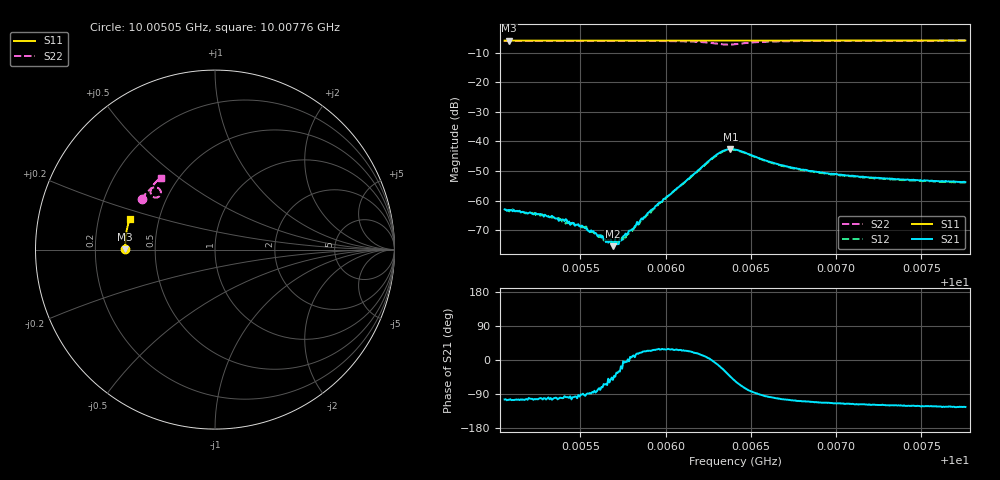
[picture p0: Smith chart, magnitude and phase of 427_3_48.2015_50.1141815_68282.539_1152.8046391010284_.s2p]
#  HZ  S  RI  R  50.00
! Rohde & Schwarz Vector Network Analyzer
! Rohde-Schwarz,ZNB20-2Port,1311601062101988,3.16
! Created: UTC 3/20/2024, 11:55:11 AM
! freq[Hz]  re:S11  im:S11  re:S21  im:S21  re:S12  im:S12  re:S22  im:S22
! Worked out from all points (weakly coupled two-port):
!   401 points, 10.00505 GHz to 10.00776 GHz, reference 50 ohm
!   highest |S21| = -42.59 dB at 10.00638 GHz (marker M1); lowest = -75.4 dB at 10.00569 GHz (marker M2)
!   lowest |S11| = -6.0 dB at 10.00508 GHz (marker M3), VSWR 3.00, Z = 16.7 + j0.12 ohm
!   |S11| at or under -10 dB: nowhere
!   |S22| runs from -7.3 to -6.0 dB; largest |S21 - S12| = 0.00045
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1.0005055e10  -0.4999 0.00113  -0.000174 -0.000692  -0.00012 -0.000685  -0.4075 0.2806
1.0005082e10  -0.4999 0.0027  -0.000179 -0.000673  -0.000147 -0.000642  -0.4065 0.2822
1.0005264e10  -0.5002 0.0147  -0.000111 -0.000586  -9.9e-05 -0.000553  -0.3995 0.293
1.0005359e10  -0.5001 0.0209  -8.47e-05 -0.000493  -8.64e-05 -0.000494  -0.3956 0.2987
1.0005508e10  -0.4999 0.0305  -9e-06 -0.000379  -7.59e-06 -0.000371  -0.3891 0.3075
1.0005541e10  -0.4999 0.0327  9.63e-06 -0.000315  1.6e-05 -0.000319  -0.3875 0.3096
1.0005575e10  -0.4997 0.035  2.17e-05 -0.000304  1.97e-05 -0.000294  -0.3859 0.3117
1.000565e10  -0.4994 0.0397  8.9e-05 -0.000178  9.86e-05 -0.000192  -0.3822 0.3163
1.000569e10  -0.4994 0.0423  0.000104 -0.000135  0.000161 -0.000127  -0.3801 0.3188
1.0005704e10  -0.4993 0.0431  0.000162 -0.000156  0.000169 -0.000124  -0.3794 0.3196
1.0005731e10  -0.4993 0.045  0.000193 -0.000114  0.000206 -8.35e-05  -0.3779 0.3214
1.0005791e10  -0.4991 0.0491  0.000309 4.52e-05  0.000282 2e-05  -0.3743 0.3251
1.0005866e10  -0.4987 0.0537  0.000445 0.000183  0.000461 0.000218  -0.3695 0.33
1.000596e10  -0.4981 0.0598  0.000788 0.000444  0.000779 0.000454  -0.362 0.3362
1.0006285e10  -0.4952 0.0807  0.00556 -0.000507  0.00543 -0.000216  -0.3059 0.3328
1.0006332e10  -0.4948 0.0836  0.00627 -0.00265  0.00628 -0.00229  -0.3018 0.3129
1.0006379e10  -0.4945 0.0862  0.00534 -0.00515  0.00551 -0.00478  -0.3142 0.294
1.0006406e10  -0.4943 0.0879  0.00415 -0.00598  0.00437 -0.00565  -0.326 0.2895
1.0006643e10  -0.4925 0.103  -0.000781 -0.00417  -0.000551 -0.00411  -0.3584 0.3291
1.0006859e10  -0.4897 0.1167  -0.0011 -0.00294  -0.000952 -0.00296  -0.3492 0.3515
1.0007312e10  -0.4831 0.1452  -0.00118 -0.00205  -0.00102 -0.00206  -0.3262 0.3797
1.0007758e10  -0.4749 0.1729  -0.00115 -0.0017  -0.00103 -0.00171  -0.3035 0.4011
